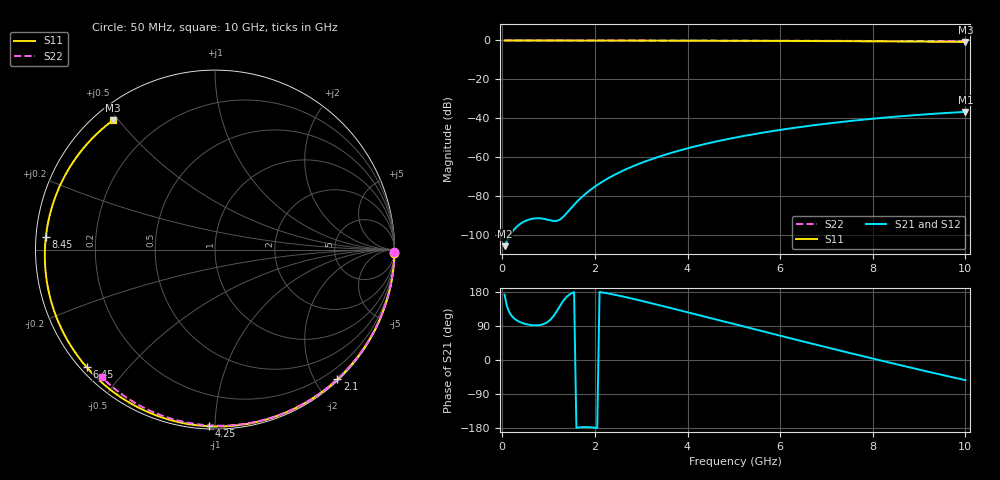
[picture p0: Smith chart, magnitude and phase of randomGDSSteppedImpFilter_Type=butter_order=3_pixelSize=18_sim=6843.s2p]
! freq	dB(S11)	phase(S11)	dB(S12)	phase(S12)
!  dB(S21)	phase(S21)	dB(S22)	phase(S22)
!S-par simulation data
#  GHz  S  DB  R 50
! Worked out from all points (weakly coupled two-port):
!   200 points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, 50 MHz to 10 GHz, reference 50 ohm
!   highest |S21| = -36.62 dB at 10 GHz (marker M1); lowest = -105.5 dB at 50 MHz (marker M2)
!   lowest |S11| = -0.7 dB at 10 GHz (marker M3), VSWR 23.25, Z = 2.65 + j24.2 ohm
!   |S11| at or under -10 dB: nowhere
!   |S22| runs from -0.4 to 0.0 dB; largest |S21 - S12| = 0
!   S11 on the Smith chart (normalised r, x): 50 MHz: open; 2.1 GHz: 0.02, -2.32; 4.25 GHz: 0.01, -0.97; 6.45 GHz: 0.02, -0.39; 8.45 GHz: 0.03, +0.04; 10 GHz: 0.05, +0.48
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0.05  -0.00 -1.1  -105.48 172.3  -105.48 172.3  -0.00 -0.8
0.45  -0.01 -10.2  -93.13 96.9  -93.13 96.9  -0.00 -6.8
0.85  -0.02 -19.2  -91.29 93.4  -91.29 93.4  -0.01 -12.8
1.7  -0.05 -37.9  -80.67 -177.3  -80.67 -177.3  -0.03 -25.5
1.75  -0.05 -39.0  -79.59 -176.9  -79.59 -176.9  -0.03 -26.2
2.1  -0.06 -46.7  -73.33 179.6  -73.33 179.6  -0.04 -31.3
2.4  -0.07 -53.1  -69.19 172.9  -69.19 172.9  -0.05 -35.7
2.7  -0.08 -59.5  -65.75 164.9  -65.75 164.9  -0.05 -40.0
3.4  -0.10 -74.3  -59.46 144.4  -59.46 144.4  -0.07 -49.9
4.25  -0.13 -91.9  -53.81 118.3  -53.81 118.3  -0.09 -61.6
5.05  -0.17 -108.3  -49.71 93.4  -49.71 93.4  -0.11 -72.2
5.75  -0.21 -122.7  -46.79 71.8  -46.79 71.8  -0.14 -81.2
6.45  -0.27 -137.5  -44.34 50.3  -44.34 50.3  -0.17 -90.0
6.7  -0.29 -142.9  -43.55 42.7  -43.55 42.7  -0.18 -93.1
7.55  -0.38 -162.0  -41.21 17.1  -41.21 17.1  -0.23 -103.3
7.95  -0.42 -171.6  -40.25 5.2  -40.25 5.2  -0.26 -108.0
8.35  -0.48 178.3  -39.37 -6.6  -39.37 -6.6  -0.29 -112.7
8.45  -0.49 175.6  -39.17 -9.5  -39.17 -9.5  -0.30 -113.8
8.85  -0.55 164.7  -38.40 -21.1  -38.40 -21.1  -0.33 -118.4
9.25  -0.62 152.9  -37.71 -32.5  -37.71 -32.5  -0.37 -123.0
9.65  -0.68 140.2  -37.09 -43.6  -37.09 -43.6  -0.41 -127.5
10  -0.75 128.3  -36.62 -53.2  -36.62 -53.2  -0.44 -131.5
